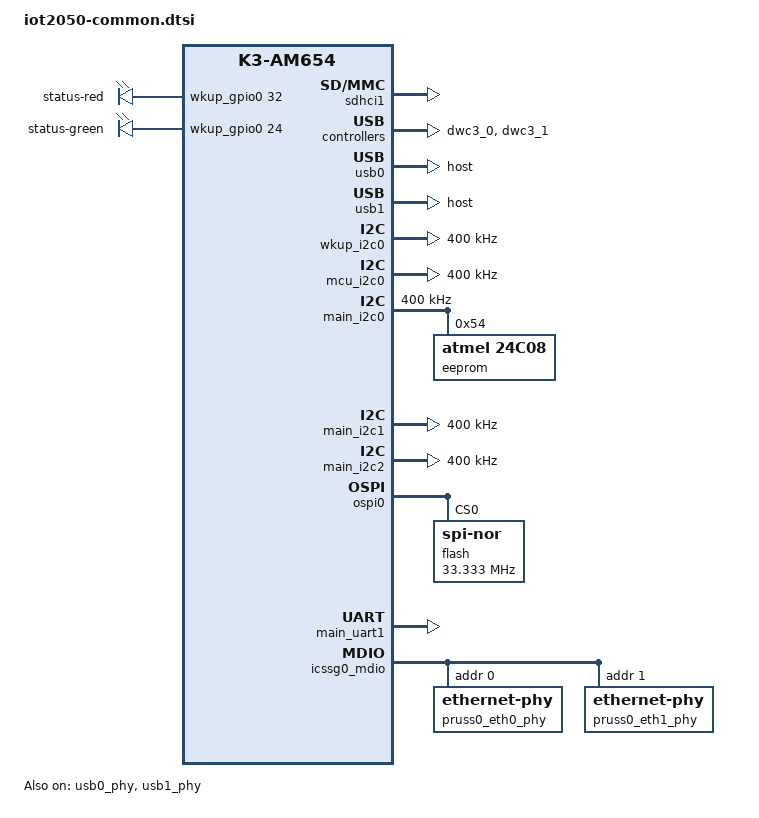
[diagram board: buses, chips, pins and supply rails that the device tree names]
// SPDX-License-Identifier: GPL-2.0
/*
 * Copyright (c) Siemens AG, 2018-2020
 *
 * Authors:
 *   Le Jin <le.jin@siemens.com>
 *   Jan Kiszka <jan.kiszk@siemens.com>
 */

#include "k3-am654.dtsi"
#include <dt-bindings/pinctrl/k3.h>
#include <dt-bindings/net/ti-dp83867.h>

/ {
	chosen {
		stdout-path = "serial3:115200n8";
		bootargs = "earlycon=ns16550a,mmio32,0x02800000";
	};

	aliases {
		remoteproc0 = &mcu_r5fss0_core0;
		remoteproc1 = &mcu_r5fss0_core1;
		serial3 = &main_uart1;
		ethernet0 = &pruss0_eth;
	};

	reserved-memory {
		#address-cells = <2>;
		#size-cells = <2>;
		ranges;
		secure_ddr: secure_ddr@9e800000 {
			reg = <0 0x9e800000 0 0x01800000>; /* for OP-TEE */
			alignment = <0x1000>;
			no-map;
		};
	};

	/* Dual Ethernet application node on PRU-ICSSG0 */
	pruss0_eth: pruss0_eth {
		compatible = "ti,am654-icssg-prueth";
		pinctrl-names = "default";
		pinctrl-0 = <&icssg0_rgmii_pins_default>;
		sram = <&icssg0_sram>;
		clocks = <&k3_clks 62 3>;
		clock-names = "mdio_fck";

		prus = <&pru0_0>, <&rtu0_0>, <&pru0_1>, <&rtu0_1>;
		firmware-name = "ti-pruss/am65x-pru0-prueth-fw.elf",
		                "ti-pruss/am65x-rtu0-prueth-fw.elf",
		                "ti-pruss/am65x-pru1-prueth-fw.elf",
		                "ti-pruss/am65x-rtu1-prueth-fw.elf";
		mii-g-rt = <&icssg0_mii_g_rt>;
		mii-rt = <&icssg0_mii_rt>;
		dma-coherent;
		dmas = <&mcu_udmap 0xc100>, /* egress slice 0 */
		       <&mcu_udmap 0xc101>, /* egress slice 0 */
		       <&mcu_udmap 0xc102>, /* egress slice 0 */
		       <&mcu_udmap 0xc103>, /* egress slice 0 */
		       <&mcu_udmap 0xc104>, /* egress slice 1 */
		       <&mcu_udmap 0xc105>, /* egress slice 1 */
		       <&mcu_udmap 0xc106>, /* egress slice 1 */
		       <&mcu_udmap 0xc107>, /* egress slice 1 */

		       <&mcu_udmap 0x4100>, /* ingress slice 0 */
		       <&mcu_udmap 0x4101>, /* ingress slice 1 */
		       <&mcu_udmap 0x4102>, /* mgmnt rsp slice 0 */
		       <&mcu_udmap 0x4103>; /* mgmnt rsp slice 1 */
		dma-names = "tx0-0", "tx0-1", "tx0-2", "tx0-3",
		            "tx1-0", "tx1-1", "tx1-2", "tx1-3",
		            "rx0", "rx1",
		            "rxmgm0", "rxmgm1";

/*
 * Commenting out the second mii interface as the framework
 * supports one interface in a single probe
 * So either mii0 or mii1 can be used. In case mii0 is needed
 * uncomment mii0 and comment out mii1
		pruss0_emac0: ethernet-mii0 {
			phy-handle = <&pruss0_eth0_phy>;
			phy-mode = "rgmii-rxid";
			syscon-rgmii-delay = <&scm_conf 0x4100>;
			local-mac-address = [00 00 00 00 00 00];
		};
*/

		pruss0_emac1: ethernet-mii1 {
			phy-handle = <&pruss0_eth1_phy>;
			phy-mode = "rgmii-rxid";
			syscon-rgmii-delay = <&scm_conf 0x4104>;
			/* Filled in by bootloader */
			local-mac-address = [00 00 00 00 00 00];
		};
	};
};

&sdhci0 {
	/*
	 * Swap clock TISCI clock IDs between sdhci0 and sdhci1 to work
	 * around an issue in System Firmware 2019.12a (and earlier) known
	 * as SYSFW-3179.
	 */
	clocks =<&k3_clks 48 0>, <&k3_clks 48 1>;
	assigned-clocks = <&k3_clks 48 1>;
	assigned-clock-rates = <142860000>;
};

&cbass_main {
	u-boot,dm-spl;

	sdhci1: sdhci@04FA0000 {
		compatible = "ti,am654-sdhci-5.1";
		reg = <0x0 0x4FA0000 0x0 0x1000>,
		      <0x0 0x4FB0000 0x0 0x400>;
		power-domains = <&k3_pds 48 TI_SCI_PD_EXCLUSIVE>;
		/*
		 * Swap clock TISCI clock IDs between sdhci0 and sdhci1 to work
		 * around an issue in System Firmware 2019.12a (and earlier)
		 * known as SYSFW-3179.
		 */
		clocks = <&k3_clks 47 0>, <&k3_clks 47 1>;
		clock-names = "clk_ahb", "clk_xin";
		max-frequency = <25000000>;
		pinctrl-names = "default";
		pinctrl-0 = <&main_mmc1_pins_default>;
		sdhci-caps-mask = <0x7 0x200000>;
		ti,otap-del-sel-legacy = <0x0>;
		ti,otap-del-sel-mmc-hs = <0x0>;
		ti,otap-del-sel-sd-hs = <0x0>;
		ti,otap-del-sel-sdr12 = <0x0>;
		ti,otap-del-sel-sdr25 = <0x0>;
		ti,otap-del-sel-sdr50 = <0x8>;
		ti,otap-del-sel-sdr104 = <0x7>;
		ti,otap-del-sel-ddr50 = <0x4>;
		ti,otap-del-sel-ddr52 = <0x4>;
		ti,otap-del-sel-hs200 = <0x7>;
		ti,trm-icp = <0x8>;
		ti,driver-strength-ohm = <50>;
		status = "okay";
	};
};

&cbass_mcu {
	u-boot,dm-spl;

	gpio-leds {
		compatible = "gpio-leds";
		pinctrl-names = "default";
		pinctrl-0 = <&led_pins_default>;
		u-boot,dm-spl;

		status-led-red {
			gpios = <&wkup_gpio0 32 GPIO_ACTIVE_HIGH>;
			label = "status-red";
			u-boot,dm-spl;
		};

		status-led-green {
			gpios = <&wkup_gpio0 24 GPIO_ACTIVE_HIGH>;
			label = "status-green";
			u-boot,dm-spl;
		};
	};
};

&wkup_pmx0 {
	u-boot,dm-spl;

	mcu_fss0_ospi0_pins_default: mcu_fss0_ospi0_pins_default {
		pinctrl-single,pins = <
			AM65X_WKUP_IOPAD(0x0000, PIN_OUTPUT, 0) /* (V1) MCU_OSPI0_CLK */
			AM65X_WKUP_IOPAD(0x0008, PIN_INPUT, 0)	 /* (U2) MCU_OSPI0_DQS */
			AM65X_WKUP_IOPAD(0x000c, PIN_OUTPUT, 0)  /* (U4) MCU_OSPI0_D0 */
			AM65X_WKUP_IOPAD(0x0010, PIN_INPUT, 0)  /* (U5) MCU_OSPI0_D1 */
			AM65X_WKUP_IOPAD(0x002c, PIN_OUTPUT, 0) /* (R4) MCU_OSPI0_CSn0 */
		>;
		u-boot,dm-spl;
	};

	wkup_i2c0_pins_default: wkup-i2c0-pins-default {
		pinctrl-single,pins = <
			AM65X_WKUP_IOPAD(0x00e0, PIN_INPUT, 0) /* (AC7) WKUP_I2C0_SCL */
			AM65X_WKUP_IOPAD(0x00e4, PIN_INPUT, 0) /* (AD6) WKUP_I2C0_SDA */
		>;
	};

	mcu_i2c0_pins_default: mcu_i2c0_pins_default {
		pinctrl-single,pins = <
			AM65X_WKUP_IOPAD(0x00e8, PIN_INPUT, 0) /* (AD8) MCU_I2C0_SCL */
			AM65X_WKUP_IOPAD(0x00ec, PIN_INPUT, 0) /* (AD7) MCU_I2C0_SDA */
		>;
	};

	led_pins_default: led_pins_default {
		pinctrl-single,pins = <
			AM65X_WKUP_IOPAD(0x0050, PIN_OUTPUT, 7) /* (N2) WKUP_GPIO0_32 STATUS RED   LED */
			AM65X_WKUP_IOPAD(0x0028, PIN_OUTPUT, 7) /* (R3) WKUP_GPIO0_22 USER   GREEN LED */
			AM65X_WKUP_IOPAD(0x0030, PIN_OUTPUT, 7) /* (R5) WKUP_GPIO0_24 STATUS GREEN LED */
		>;
	};
};

&main_pmx0 {
	u-boot,dm-spl;

	main_uart1_pins_default: main_uart1_pins_default {
		pinctrl-single,pins = <
			AM65X_IOPAD(0x0174, PIN_INPUT, 6)	/* (AE23) UART1_RXD */
			AM65X_IOPAD(0x014c, PIN_OUTPUT, 6)	/* (AD23) UART1_TXD */
			AM65X_IOPAD(0x0178, PIN_INPUT, 6)	/* (AD22) UART1_CTSn */
			AM65X_IOPAD(0x017c, PIN_OUTPUT, 6)	/* (AC21) UART1_RTSn */
		>;
		u-boot,dm-spl;
	};

	usb0_pins_default: usb0_pins_default {
		pinctrl-single,pins = <
			AM65X_IOPAD(0x02bc, PIN_OUTPUT, 0) /* (AD9) USB0_DRVVBUS */
		>;
	};

	usb1_pins_default: usb1_pins_default {
		pinctrl-single,pins = <
			AM65X_IOPAD(0x02c0, PIN_OUTPUT, 0) /* (AC8) USB1_DRVVBUS */
		>;
	};

	main_i2c2_pins_default: main-i2c2-pins-default {
		pinctrl-single,pins = <
			AM65X_IOPAD(0x0074, PIN_INPUT, 5) /* (T27) GPMC0_CSn3.I2C2_SCL */
			AM65X_IOPAD(0x0070, PIN_INPUT, 5) /* (R25) GPMC0_CSn2.I2C2_SDA */
		>;
	};

	main_mmc1_pins_default: main_mmc1_pins_default {
		pinctrl-single,pins = <
			AM65X_IOPAD(0x02d4, PIN_INPUT_PULLDOWN, 0)	/* (C27) MMC1_CLK */
			AM65X_IOPAD(0x02d8, PIN_INPUT_PULLUP, 0)	/* (C28) MMC1_CMD */
			AM65X_IOPAD(0x02d0, PIN_INPUT_PULLUP, 0)	/* (D28) MMC1_DAT0 */
			AM65X_IOPAD(0x02cc, PIN_INPUT_PULLUP, 0)	/* (E27) MMC1_DAT1 */
			AM65X_IOPAD(0x02c8, PIN_INPUT_PULLUP, 0)	/* (D26) MMC1_DAT2 */
			AM65X_IOPAD(0x02c4, PIN_INPUT_PULLUP, 0)	/* (D27) MMC1_DAT3 */
			AM65X_IOPAD(0x02dc, PIN_INPUT_PULLUP, 0)	/* (B24) MMC1_SDCD */
			AM65X_IOPAD(0x02e0, PIN_INPUT, 0)			/* (C24) MMC1_SDWP */
		>;
	};

	icssg0_rgmii_pins_default: icssg0_rgmii_pins_default {
		pinctrl-single,pins = <
			AM65X_IOPAD(0x0244, PIN_INPUT, 2) /* (AB28) PRG0_PRU1_GPO0.PRG0_RGMII2_RD0 */
			AM65X_IOPAD(0x0248, PIN_INPUT, 2) /* (AC28) PRG0_PRU1_GPO1.PRG0_RGMII2_RD1 */
			AM65X_IOPAD(0x024c, PIN_INPUT, 2) /* (AC27) PRG0_PRU1_GPO2.PRG0_RGMII2_RD2 */
			AM65X_IOPAD(0x0250, PIN_INPUT, 2) /* (AB26) PRG0_PRU1_GPO3.PRG0_RGMII2_RD3 */
			AM65X_IOPAD(0x0274, PIN_OUTPUT, 2) /* (AC25) PRG0_PRU1_GPO12.PRG0_RGMII2_TD0 */
			AM65X_IOPAD(0x0278, PIN_OUTPUT, 2) /* (AD25) PRG0_PRU1_GPO13.PRG0_RGMII2_TD1 */
			AM65X_IOPAD(0x027c, PIN_OUTPUT, 2) /* (AD24) PRG0_PRU1_GPO14.PRG0_RGMII2_TD2 */
			AM65X_IOPAD(0x0280, PIN_OUTPUT, 2) /* (AE27) PRG0_PRU1_GPO15.PRG0_RGMII2_TD3 */
			AM65X_IOPAD(0x0284, PIN_INPUT, 2) /* (AC24) PRG0_PRU1_GPO16.PRG0_RGMII2_TXC */
			AM65X_IOPAD(0x0270, PIN_OUTPUT, 2) /* (AB24) PRG0_PRU1_GPO11.PRG0_RGMII2_TX_CTL */
			AM65X_IOPAD(0x025c, PIN_INPUT, 2) /* (AB27) PRG0_PRU1_GPO6.PRG0_RGMII2_RXC */
			AM65X_IOPAD(0x0254, PIN_INPUT, 2) /* (AA25) PRG0_PRU1_GPO4.PRG0_RGMII2_RX_CTL */
			AM65X_IOPAD(0x01f4, PIN_INPUT, 2) /* (V24) PRG0_PRU0_GPO0.PRG0_RGMII1_RD0 */
			AM65X_IOPAD(0x01f8, PIN_INPUT, 2) /* (W25) PRG0_PRU0_GPO1.PRG0_RGMII1_RD1 */
			AM65X_IOPAD(0x01fc, PIN_INPUT, 2) /* (W24) PRG0_PRU0_GPO2.PRG0_RGMII1_RD2 */
			AM65X_IOPAD(0x0200, PIN_INPUT, 2) /* (AA27) PRG0_PRU0_GPO3.PRG0_RGMII1_RD3 */
			AM65X_IOPAD(0x0224, PIN_OUTPUT, 2) /* (AD27) PRG0_PRU0_GPO12.PRG0_RGMII1_TD0 */
			AM65X_IOPAD(0x0228, PIN_OUTPUT, 2) /* (AC26) PRG0_PRU0_GPO13.PRG0_RGMII1_TD1 */
			AM65X_IOPAD(0x022c, PIN_OUTPUT, 2) /* (AD26) PRG0_PRU0_GPO14.PRG0_RGMII1_TD2 */
			AM65X_IOPAD(0x0230, PIN_OUTPUT, 2) /* (AA24) PRG0_PRU0_GPO15.PRG0_RGMII1_TD3 */
			AM65X_IOPAD(0x0234, PIN_INPUT, 2) /* (AD28) PRG0_PRU0_GPO16.PRG0_RGMII1_TXC */
			AM65X_IOPAD(0x0220, PIN_OUTPUT, 2) /* (AB25) PRG0_PRU0_GPO11.PRG0_RGMII1_TX_CTL */
			AM65X_IOPAD(0x020c, PIN_INPUT, 2) /* (Y25) PRG0_PRU0_GPO6.PRG0_RGMII1_RXC */
			AM65X_IOPAD(0x0204, PIN_INPUT, 2) /* (Y24) PRG0_PRU0_GPO4.PRG0_RGMII1_RX_CTL */
			/* HACK As there is no driver for mdio */
			AM65X_IOPAD(0x0294, PIN_INPUT , 0) /* (AE26) PRG0_MDIO0_MDIO */
			AM65X_IOPAD(0x0298, PIN_OUTPUT , 0) /* (AE28) PRG0_MDIO0_MDC */
		>;
	};

	icssg0_mdio_pins_default: icssg0_mdio_pins_default {
		pinctrl-single,pins = <
			AM65X_IOPAD(0x0294, PIN_INPUT, 0) /* (AE26) PRG0_MDIO0_MDIO */
			AM65X_IOPAD(0x0298, PIN_OUTPUT, 0) /* (AE28) PRG0_MDIO0_MDC */
		>;
	};
};

&main_pmx1 {
	main_i2c0_pins_default: main-i2c0-pins-default {
		pinctrl-single,pins = <
			AM65X_IOPAD(0x0000, PIN_INPUT, 0) /* (D20) I2C0_SCL */
			AM65X_IOPAD(0x0004, PIN_INPUT, 0) /* (C21) I2C0_SDA */
		>;
	};

	main_i2c1_pins_default: main-i2c1-pins-default {
		pinctrl-single,pins = <
			AM65X_IOPAD(0x0008, PIN_INPUT, 0) /* (B21) I2C1_SCL */
			AM65X_IOPAD(0x000c, PIN_INPUT, 0) /* (E21) I2C1_SDA */
		>;
	};
};

&dwc3_0 {
	status = "okay";
};

&usb0_phy {
	status = "okay";
};

&usb0 {
	pinctrl-names = "default";
	pinctrl-0 = <&usb0_pins_default>;
	dr_mode = "host";
};

&dwc3_1 {
	status = "okay";
};

&usb1_phy {
	status = "okay";
};

&usb1 {
	pinctrl-names = "default";
	pinctrl-0 = <&usb1_pins_default>;
	dr_mode = "host";
};

&wkup_i2c0 {
	pinctrl-names = "default";
	pinctrl-0 = <&wkup_i2c0_pins_default>;
	clock-frequency = <400000>;
};

&mcu_i2c0 {
	pinctrl-names = "default";
	pinctrl-0 = <&mcu_i2c0_pins_default>;
	clock-frequency = <400000>;
};

&main_i2c0 {
	pinctrl-names = "default";
	pinctrl-0 = <&main_i2c0_pins_default>;
	clock-frequency = <400000>;
	eeprom: eeprom@54 {
		compatible = "atmel,24c08";
		reg = <0x54>;
		pagesize = <16>;
	};
};

&main_i2c1 {
	pinctrl-names = "default";
	pinctrl-0 = <&main_i2c1_pins_default>;
	clock-frequency = <400000>;
};

&main_i2c2 {
	pinctrl-names = "default";
	pinctrl-0 = <&main_i2c2_pins_default>;
	clock-frequency = <400000>;
};

&ospi0 {
	status = "okay";
	pinctrl-names = "default";
	pinctrl-0 = <&mcu_fss0_ospi0_pins_default>;
	u-boot,dm-spl;

	flash@0 {
		compatible = "jedec,spi-nor";
		reg = <0x0>;
		spi-tx-bus-width = <1>;
		spi-rx-bus-width = <1>;
		spi-max-frequency = <33333334>;
		cdns,tshsl-ns = <60>;
		cdns,tsd2d-ns = <60>;
		cdns,tchsh-ns = <60>;
		cdns,tslch-ns = <60>;
		cdns,read-delay = <0>;
		#address-cells = <1>;
		#size-cells = <1>;
		u-boot,dm-spl;
	};
};

&cbass_wakeup {
	u-boot,dm-spl;

	wkup_gpio0: wkup_gpio0@42110000 {
		compatible = "ti,k2g-gpio", "ti,keystone-gpio";
		reg = <0x42110000 0x100>;
		gpio-controller;
		#gpio-cells = <2>;
		ti,ngpio = <56>;
		ti,davinci-gpio-unbanked = <0>;
		clocks = <&k3_clks 59 0>;
		clock-names = "gpio";
		u-boot,dm-spl;
	};
};

&secure_proxy_main {
	u-boot,dm-spl;
};

&dmsc {
	u-boot,dm-spl;
	k3_sysreset: sysreset-controller {
		compatible = "ti,sci-sysreset";
		u-boot,dm-spl;
	};
};

&msmc_ram {
	icssg0_sram: icssg0-sram@40000 {
		reg = <0x40000 0x10000>;
	};
	icssg1_sram: icssg1-sram@50000 {
		reg = <0x50000 0x10000>;
	};
	icssg2_sram: icssg2-sram@60000 {
		reg = <0x60000 0x10000>;
	};
};

&k3_pds {
	u-boot,dm-spl;
};

&k3_clks {
	u-boot,dm-spl;
};

&k3_reset {
	u-boot,dm-spl;
};

&main_uart1 {
	u-boot,dm-spl;
	pinctrl-names = "default";
	pinctrl-0 = <&main_uart1_pins_default>;
	status = "okay";
};

&fss {
	u-boot,dm-spl;
};

&icssg0_mdio {
	status = "okay";
	pinctrl-names = "default";
	pinctrl-0 = <&icssg0_mdio_pins_default>;

	pruss0_eth0_phy: ethernet-phy@0 {
		reg = <0>;
		ti,rx-internal-delay = <DP83867_RGMIIDCTL_2_00_NS>;
		ti,fifo-depth = <DP83867_PHYCR_FIFO_DEPTH_4_B_NIB>;
	};

	pruss0_eth1_phy: ethernet-phy@1 {
		reg = <1>;
		ti,rx-internal-delay = <DP83867_RGMIIDCTL_2_00_NS>;
		ti,fifo-depth = <DP83867_PHYCR_FIFO_DEPTH_4_B_NIB>;
	};
};
